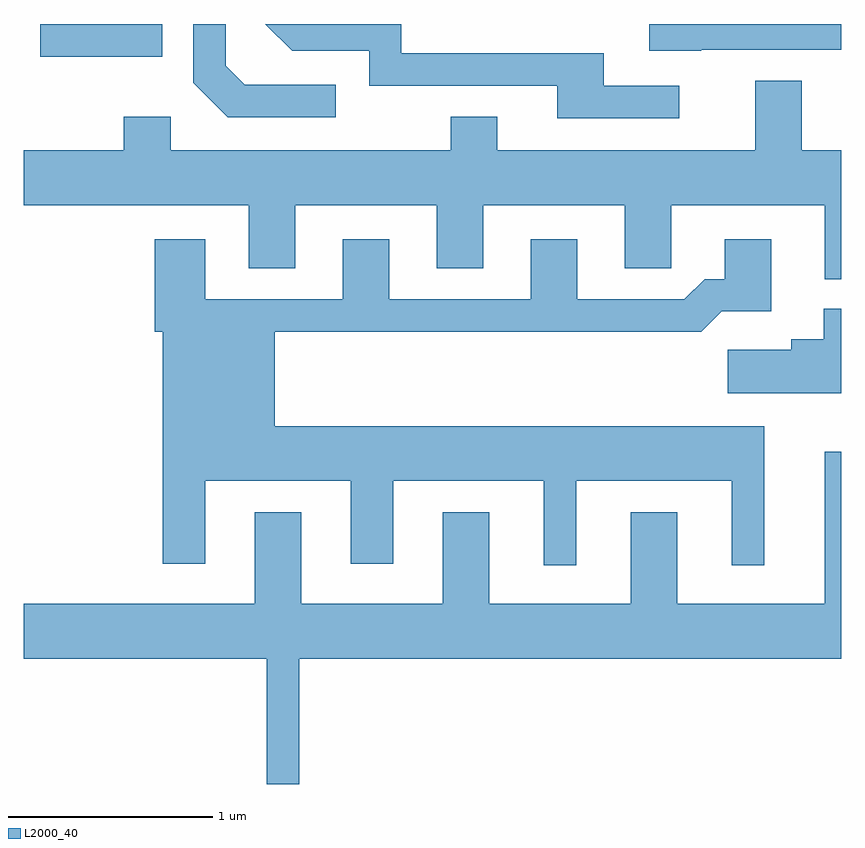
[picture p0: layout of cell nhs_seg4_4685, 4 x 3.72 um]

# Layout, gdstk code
import gdstk
lib = gdstk.Library(unit=1e-6, precision=1e-09)
def R(c, l, rs):  # rectangles x0, y0, x1, y1
    for r in rs: c.add(gdstk.rectangle(r[:2], r[2:], *l))
def P(c, l, *ps):  # polygons
    for p in ps: c.add(gdstk.Polygon(p, *l))
L2000_40 = (2000, 40)

nhs_seg4_4685 = lib.new_cell('nhs_seg4_4685')
R(nhs_seg4_4685, L2000_40, [(321.691,1379.821,322.289,1379.982)])
P(nhs_seg4_4685, L2000_40, [(323.138,1379.684),(322.692,1379.684),(322.599,1379.777),(322.599,1379.982),(322.441,1379.982),(322.441,1379.694),(322.609,1379.526),(323.138,1379.526)],
  [(324.925,1379.856),(325.611,1379.856),(325.611,1379.982),(324.671,1379.982),(324.671,1379.851),(324.925,1379.851)],
  [(324.818,1379.679),(324.449,1379.679),(324.449,1379.839),(323.459,1379.839),(323.459,1379.982),(322.793,1379.982),(322.924,1379.851),(323.301,1379.851),(323.301,1379.681),(324.221,1379.681),(324.221,1379.521),(324.818,1379.521)],
  [(325.611,1379.364),(325.419,1379.364),(325.419,1379.704),(325.191,1379.704),(325.191,1379.364),(323.929,1379.364),(323.929,1379.529),(323.701,1379.529),(323.701,1379.364),(322.329,1379.364),(322.329,1379.529),(322.101,1379.529),(322.101,1379.364),(321.611,1379.364),(321.611,1379.096),(322.711,1379.096),(322.711,1378.786),(322.939,1378.786),(322.939,1379.096),(323.631,1379.096),(323.631,1378.786),(323.859,1378.786),(323.859,1379.096),(324.551,1379.096),(324.551,1378.786),(324.779,1378.786),(324.779,1379.096),(325.531,1379.096),(325.531,1378.733),(325.611,1378.733)],
  [(324.314,1377.746),(325.076,1377.746),(325.076,1377.333),(325.234,1377.333),(325.234,1378.014),(322.839,1378.014),(322.839,1378.476),(324.927,1378.476),(325.027,1378.576),(325.269,1378.576),(325.269,1378.929),(325.041,1378.929),(325.041,1378.734),(324.944,1378.734),(324.844,1378.634),(324.319,1378.634),(324.319,1378.929),(324.091,1378.929),(324.091,1378.634),(323.399,1378.634),(323.399,1378.929),(323.171,1378.929),(323.171,1378.634),(322.499,1378.634),(322.499,1378.929),(322.251,1378.929),(322.251,1378.476),(322.291,1378.476),(322.291,1377.341),(322.499,1377.341),(322.499,1377.746),(323.211,1377.746),(323.211,1377.341),(323.419,1377.341),(323.419,1377.746),(324.156,1377.746),(324.156,1377.333),(324.314,1377.333)],
  [(325.611,1378.589),(325.526,1378.589),(325.526,1378.439),(325.366,1378.439),(325.366,1378.389),(325.056,1378.389),(325.056,1378.176),(325.611,1378.176)],
  [(322.959,1376.876),(325.611,1376.876),(325.611,1377.888),(325.531,1377.888),(325.531,1377.144),(324.809,1377.144),(324.809,1377.594),(324.581,1377.594),(324.581,1377.144),(323.889,1377.144),(323.889,1377.594),(323.661,1377.594),(323.661,1377.144),(322.969,1377.144),(322.969,1377.594),(322.741,1377.594),(322.741,1377.144),(321.611,1377.144),(321.611,1376.876),(322.801,1376.876),(322.801,1376.263),(322.959,1376.263)])

lib.write_gds('nhs_seg4_4685.gds')
